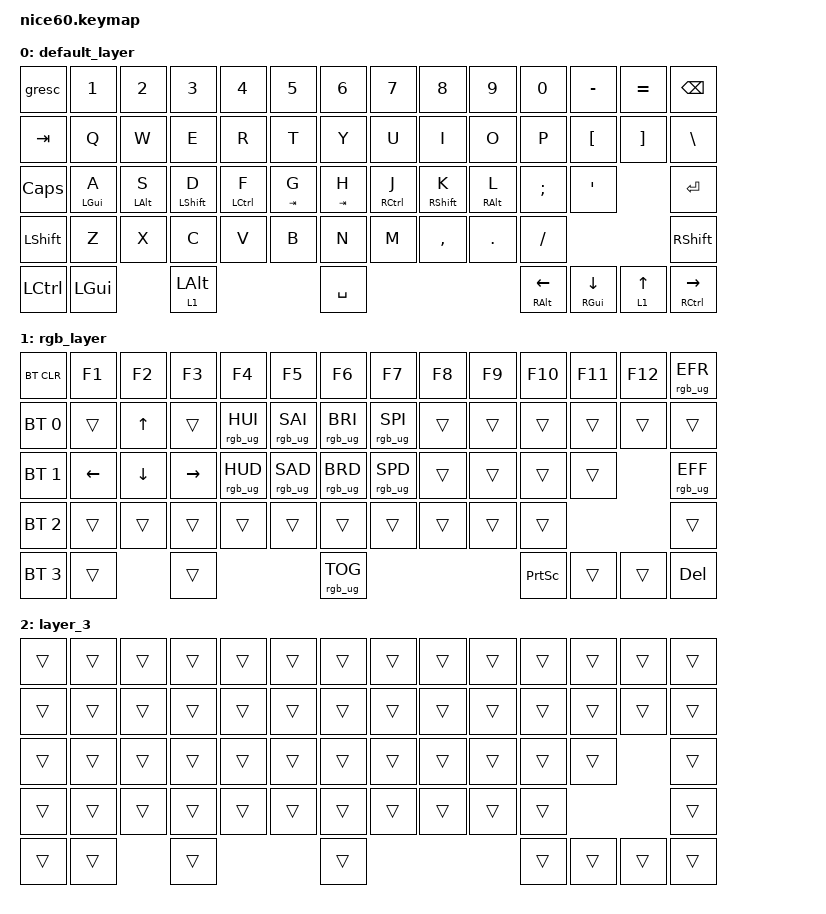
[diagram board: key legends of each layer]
/*
 * Copyright (c) 2021 Nick Winans
 *
 * SPDX-License-Identifier: MIT
 */

#include <dt-bindings/zmk/reset.h>
#include <behaviors.dtsi>
#include <dt-bindings/zmk/bt.h>
#include <dt-bindings/zmk/keys.h>
#include <dt-bindings/zmk/rgb.h>

/ {
    keymap {
        compatible = "zmk,keymap";

        default_layer {
            bindings = <
&gresc     &kp N1          &kp N2          &kp N3            &kp N4              &kp N5     &kp N6     &kp N7               &kp N8             &kp N9           &kp N0         &kp MINUS      &kp EQUAL  &kp BSPC
&kp TAB    &kp Q           &kp W           &kp E             &kp R               &kp T      &kp Y      &kp U                &kp I              &kp O            &kp P          &kp LBKT       &kp RBKT   &kp BSLH
&kp CLCK   &mt LEFT_GUI A  &mt LEFT_ALT S  &mt LEFT_SHIFT D  &mt LEFT_CONTROL F  &mt TAB G  &mt TAB H  &mt RIGHT_CONTROL J  &mt RIGHT_SHIFT K  &mt RIGHT_ALT L  &kp SEMI       &kp SQT                   &kp RET
&kp LSHFT  &kp Z           &kp X           &kp C             &kp V               &kp B      &kp N      &kp M                &kp COMMA          &kp DOT          &kp FSLH                                 &kp RSHFT
&kp LCTRL  &kp LGUI                        &lt 1 LEFT_ALT                                   &kp SPACE                                                           &mt RALT LEFT  &mt RGUI DOWN  &lt 1 UP   &mt RCTRL RIGHT
            >;
        };

        rgb_layer {
            // ------------------------------------------------------------------------------------------------
            // | BT CLR | F1  | F2  | F3  | F4  | F5  | F6  | F7  | F8  | F9  | F10  | F11 | F12 | EFFECT REV |
            // |  BT 1   |   |  UP |   | HUEUP | SATUP | BRIUP | SPDUP |   |     |    |     |     |           |
            // |   BT 2   | LT |  DN  | RT | HUEDN | SATDN | BRIDN | SPDDN |   |     |   |     |  EFFECT FORW |
            // |    BT 3     |     |      |      |     |     |     |     |     |     |     |                  |
            // |   BT 4  |      |      |             TOG RGB                | PRT SCR |       |       |  DEL  |
            // ------------------------------------------------------------------------------------------------

            bindings = <
&bt BT_CLR    &kp F1    &kp F2    &kp F3     &kp F4           &kp F5           &kp F6           &kp F7           &kp F8  &kp F9  &kp F10    &kp F11  &kp F12  &rgb_ug RGB_EFR
&bt BT_SEL 0  &trans    &kp UP    &trans     &rgb_ug RGB_HUI  &rgb_ug RGB_SAI  &rgb_ug RGB_BRI  &rgb_ug RGB_SPI  &trans  &trans  &trans     &trans   &trans   &trans
&bt BT_SEL 1  &kp LEFT  &kp DOWN  &kp RIGHT  &rgb_ug RGB_HUD  &rgb_ug RGB_SAD  &rgb_ug RGB_BRD  &rgb_ug RGB_SPD  &trans  &trans  &trans     &trans            &rgb_ug RGB_EFF
&bt BT_SEL 2  &trans    &trans    &trans     &trans           &trans           &trans           &trans           &trans  &trans  &trans                       &trans
&bt BT_SEL 3  &trans              &trans                                       &rgb_ug RGB_TOG                                   &kp PSCRN  &trans   &trans   &kp DEL
            >;
        };

        layer_3 {
            bindings = <
&trans  &trans  &trans  &trans  &trans  &trans  &trans  &trans  &trans  &trans  &trans  &trans  &trans  &trans
&trans  &trans  &trans  &trans  &trans  &trans  &trans  &trans  &trans  &trans  &trans  &trans  &trans  &trans
&trans  &trans  &trans  &trans  &trans  &trans  &trans  &trans  &trans  &trans  &trans  &trans          &trans
&trans  &trans  &trans  &trans  &trans  &trans  &trans  &trans  &trans  &trans  &trans                  &trans
&trans  &trans          &trans                  &trans                          &trans  &trans  &trans  &trans
            >;
        };
    };
};
